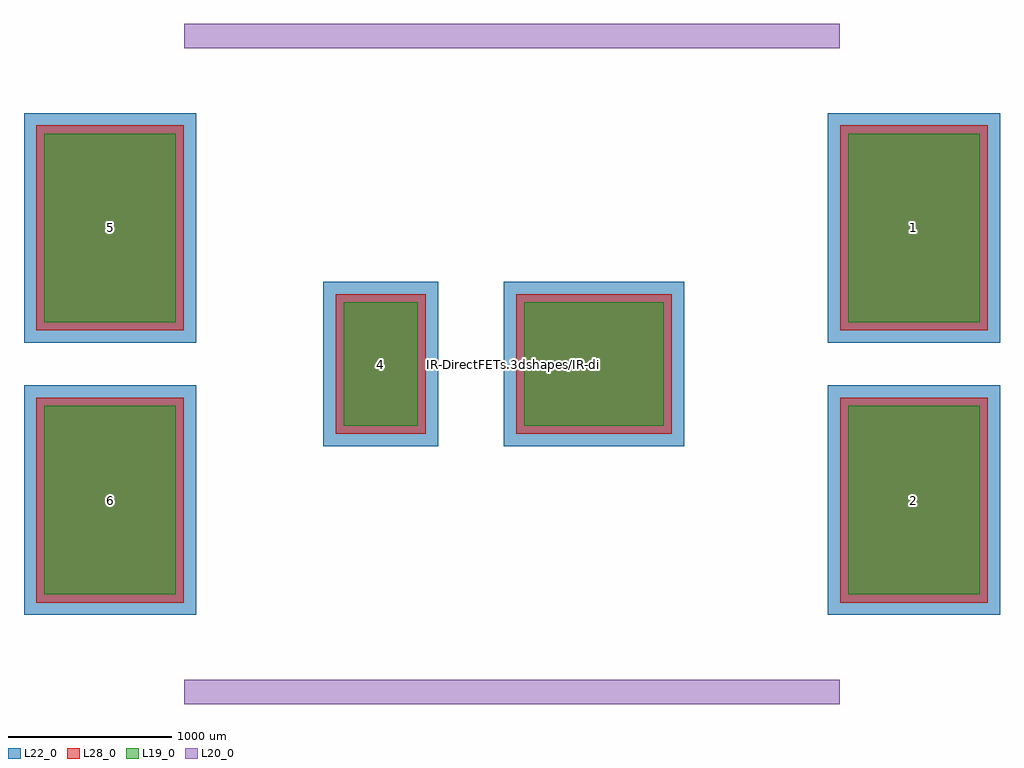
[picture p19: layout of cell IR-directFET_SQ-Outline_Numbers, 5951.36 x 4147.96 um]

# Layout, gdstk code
import gdstk
lib = gdstk.Library(unit=1e-6, precision=1e-09)
def R(c, l, rs):  # rectangles x0, y0, x1, y1
    for r in rs: c.add(gdstk.rectangle(r[:2], r[2:], *l))
L19_0 = (19, 0)
L20_0 = (20, 0)
L22_0 = (22, 0)
L28_0 = (28, 0)

ir_directfet_sq_outline_ = lib.new_cell('IR-directFET_SQ-Outline_Numbers')
R(ir_directfet_sq_outline_, L19_0, [(-2850.68,-1405.42,-2051.52,-255.74), (2051.52,-1405.42,2850.68,-255.74), (-1025.69,-375.45,-574.51,375.45), (75.4,-375.45,925.36,375.45), (-2850.68,255.74,-2051.52,1405.42), (2051.52,255.74,2850.68,1405.42)])
R(ir_directfet_sq_outline_, L22_0, [(-2975.68,-1530.42,-1926.52,-130.74), (1926.52,-1530.42,2975.68,-130.74), (-1150.69,-500.45,-449.51,500.45), (-49.6,-500.45,1050.36,500.45), (-2975.68,130.74,-1926.52,1530.42), (1926.52,130.74,2975.68,1530.42)])
R(ir_directfet_sq_outline_, L28_0, [(-2900.68,-1455.42,-2001.52,-205.74), (2001.52,-1455.42,2900.68,-205.74), (-1075.69,-425.45,-524.51,425.45), (25.4,-425.45,975.36,425.45), (-2900.68,205.74,-2001.52,1455.42), (2001.52,205.74,2900.68,1455.42)])
ir_directfet_sq_outline_.add(gdstk.FlexPath([(-1998.98,1998.98),(1998.98,1998.98)], 149.998, ends="flush", simple_path=True, layer=20, datatype=0))  # L20_0
ir_directfet_sq_outline_.add(gdstk.FlexPath([(1998.98,-1998.98),(-1998.98,-1998.98)], 149.998, ends="flush", simple_path=True, layer=20, datatype=0))  # L20_0
ir_directfet_sq_outline_.add(gdstk.Label('IR-DirectFETs.3dshapes/IR-directFET_SQ-Outline_Numbers.wrl', (0,0), layer=12, texttype=0))
ir_directfet_sq_outline_.add(gdstk.Label('2', (2451.1,-830.58), layer=28, texttype=0))
ir_directfet_sq_outline_.add(gdstk.Label('1', (2451.1,830.58), layer=28, texttype=0))
ir_directfet_sq_outline_.add(gdstk.Label('6', (-2451.1,-830.58), layer=28, texttype=0))
ir_directfet_sq_outline_.add(gdstk.Label('5', (-2451.1,830.58), layer=28, texttype=0))
ir_directfet_sq_outline_.add(gdstk.Label('3', (500.38,0), layer=28, texttype=0))
ir_directfet_sq_outline_.add(gdstk.Label('4', (-800.1,0), layer=28, texttype=0))
ir_directfet_sq_outline_.add(gdstk.Label('type', (0,-4826), layer=9, texttype=0))
ir_directfet_sq_outline_.add(gdstk.Label('devicename', (0,4000.5), layer=9, texttype=0))

lib.write_gds('IR-directFET_SQ-Outline_Numbers.gds')
